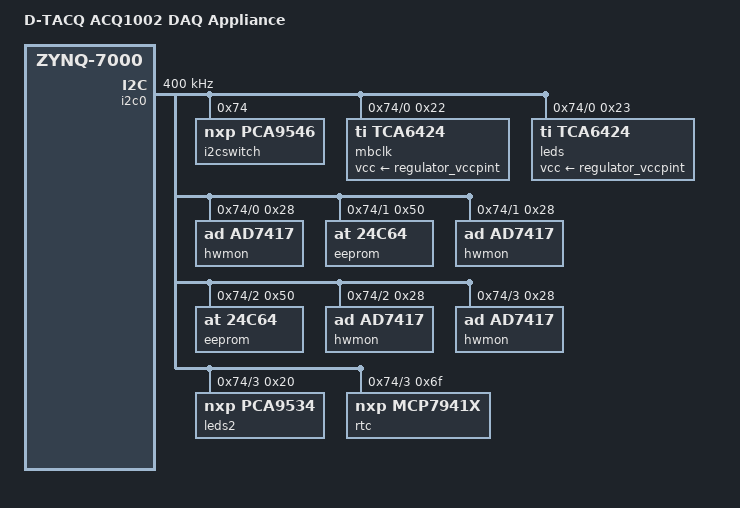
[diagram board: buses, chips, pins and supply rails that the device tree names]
/*
 * Copyright (C) 2013 D-TACQ Solutions Ltd - http://www.d-tacq.com/
 *
 * This program is free software; you can redistribute it and/or modify
 * it under the terms of the GNU General Public License version 2 as
 * published by the Free Software Foundation.
 */

/dts-v1/;

#include "acq400_common.dtsi"

/ {
	model = "D-TACQ ACQ1002 DAQ Appliance";
	compatible = "xlnx,zynq-zed", "xlnx,zynq-7000";

	chosen {
		bootargs = "";
		stdout-path = "serial0:115200n8";
		build="__DATE__";	
		descr="device tree for ACQ1002, TWO SITES, D-AXI";
		notes="DO NOT instantiate i2c 1, needs special FSBL";
		model="acq1002";
		compatible_model="acq100?";		
	};

};

&i2c0 {
	status = "okay";
	clock-frequency = <400000>;
	
	i2c-reset = <&gpio0 46 0>;
	i2cswitch@74 {
		compatible = "nxp,pca9546";
		#address-cells = <1>;
		#size-cells = <0>;
		reg = <0x74>;
		
		i2c@0 {
			#address-cells = <1>;
			#size-cells = <0>;
			reg = <0>;
		
			mbclk: gpio@22 {
				compatible="ti,tca6424";
				vcc-supply = <&regulator_vccpint>;				
				interrupts = <0 0>;
				reg=<0x22>;
			};	
			leds: gpio@23 {
				compatible="ti,tca6424";
				vcc-supply = <&regulator_vccpint>;
				interrupt-parent = <&intc>;
				interrupts = <0 0>;
				reg=<0x23>;
			};			
			hwmon@28 {
				compatible="ad,ad7417";
				reg=<0x28>;
			};
		};

		elf1: i2c@1 {
			#address-cells = <1>;
			#size-cells = <0>;
			reg = <0x1>;
	
			eeprom@50 {
				compatible = "at,24c64";
				reg = <0x50>;
			};
			hwmon@28 {
				compatible="ad,ad7417";
				reg=<0x28>;
			};
		};
		elf2: i2c@2 {
			#address-cells = <1>;
			#size-cells = <0>;
			reg = <0x2>;
		
			eeprom@50 {
				compatible = "at,24c64";
				reg = <0x50>;
			};
			hwmon@28 {
				compatible="ad,ad7417";
				reg=<0x28>;
			};
		};
		
		celf: i2c@3 {
			#address-cells = <1>;
			#size-cells = <0>;
			reg = <0x3>;
												
			hwmon@28 {
				compatible="ad,ad7417";
				reg=<0x28>;
			};
			leds2: gpio@20 {
				compatible="nxp,pca9534";
				reg=<0x20>;				
			};
			/* RTC: SWAG, there's no driver .. */
			rtc: rtc@6f {
				compatible="nxp,mcp7941x";
				reg=<0x6f>;
			};					
		};		
	};
};

&amba {
	sitec: acq2006sc@40000000 {
		reg = <0x40000000 0x10000>;
		compatible = "D-TACQ,acq1001sc";
		site = <0x0>;
	};
	site1: acq400fmc@40010000 {
		compatible = "D-TACQ,acq400fmc";
		reg = <0x40010000 0x10000>;
		interrupts = <0x0 59 0x4>; 
		interrupt-parent = <&intc>;
		site = <0x1>;
	};
	site2: acq400fmc@40020000 {
		compatible = "D-TACQ,acq400fmc";
		reg = <0x40020000 0x10000>;
		interrupts = <0x0 57 0x4>;
		interrupt-parent = <&intc>;
		site = <0x2>;
	};	
};


									

/* i2c_1 needs a special FSBL */
/*
ps7_i2c_1: ps7-i2c@e0005000 {
	clock-frequency = <400000>;
	clocks = <&clkc 38>;
	compatible = "cdns,i2c-r1p10";
	i2c-reset = <&ps7_gpio_0 46 0>;
	interrupt-parent = <&ps7_scugic_0>;
	interrupts = <0 48 4>;
	reg = <0xe0005000 0x1000>;
	xlnx,has-interrupt = <0x0>;
	#address-cells = <1>;
	#size-cells = <0>;
};
*/

